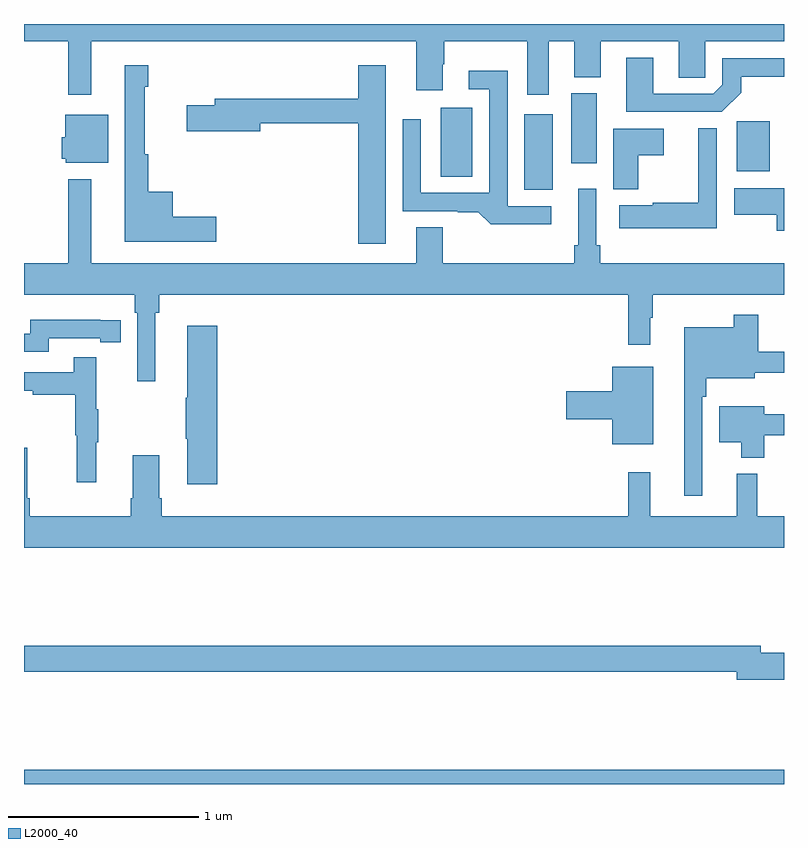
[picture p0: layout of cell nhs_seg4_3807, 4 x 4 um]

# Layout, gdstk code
import gdstk
lib = gdstk.Library(unit=1e-6, precision=1e-09)
def R(c, l, rs):  # rectangles x0, y0, x1, y1
    for r in rs: c.add(gdstk.rectangle(r[:2], r[2:], *l))
def P(c, l, *ps):  # polygons
    for p in ps: c.add(gdstk.Polygon(p, *l))
L2000_40 = (2000, 40)

nhs_seg4_3807 = lib.new_cell('nhs_seg4_3807')
R(nhs_seg4_3807, L2000_40, [(311,804.9,315,804.976), (313.634,808.027,313.783,808.426), (313.193,808.096,313.36,808.459), (314.75,808.124,314.926,808.388), (313.88,808.167,314.014,808.536)])
P(nhs_seg4_3807, L2000_40, [(311.353,808.808),(313.064,808.808),(313.064,808.551),(313.204,808.551),(313.204,808.688),(313.212,808.688),(313.212,808.808),(313.649,808.808),(313.649,808.527),(313.762,808.527),(313.762,808.808),(313.895,808.808),(313.895,808.621),(314.035,808.621),(314.035,808.808),(314.447,808.808),(314.447,808.618),(314.586,808.618),(314.586,808.808),(315,808.808),(315,808.9),(311,808.9),(311,808.808),(311.232,808.808),(311.232,808.527),(311.353,808.527)],
  [(314.775,808.539),(314.775,808.623),(315,808.623),(315,808.719),(314.676,808.719),(314.676,808.581),(314.628,808.533),(314.311,808.533),(314.311,808.723),(314.171,808.723),(314.171,808.437),(314.673,808.437)],
  [(312.013,807.885),(311.782,807.885),(311.782,808.018),(311.653,808.018),(311.653,808.214),(311.635,808.214),(311.635,808.571),(311.653,808.571),(311.653,808.684),(311.531,808.684),(311.531,807.755),(312.013,807.755)],
  [(312.904,808.684),(312.758,808.684),(312.758,808.507),(312.005,808.507),(312.005,808.473),(311.856,808.473),(311.856,808.336),(312.244,808.336),(312.244,808.378),(312.758,808.378),(312.758,807.744),(312.904,807.744)],
  [(313.774,807.942),(313.545,807.942),(313.545,808.654),(313.341,808.654),(313.341,808.557),(313.449,808.557),(313.449,808.011),(313.089,808.011),(313.089,808.399),(312.993,808.399),(312.993,807.915),(313.283,807.915),(313.283,807.91),(313.391,807.91),(313.457,807.845),(313.774,807.845)],
  [(311.443,808.423),(311.216,808.423),(311.216,808.305),(311.198,808.305),(311.198,808.191),(311.22,808.191),(311.22,808.169),(311.443,808.169)],
  [(314.646,808.352),(314.549,808.352),(314.549,807.96),(314.31,807.96),(314.31,807.946),(314.133,807.946),(314.133,807.824),(314.646,807.824)],
  [(314.232,808.208),(314.368,808.208),(314.368,808.348),(314.102,808.348),(314.102,808.031),(314.232,808.031)],
  [(314.179,807.213),(314.296,807.213),(314.296,807.353),(314.308,807.353),(314.308,807.476),(315,807.476),(315,807.64),(314.033,807.64),(314.033,807.736),(314.013,807.736),(314.013,808.033),(313.916,808.033),(313.916,807.736),(313.897,807.736),(313.897,807.64),(313.204,807.64),(313.204,807.83),(313.064,807.83),(313.064,807.64),(311.353,807.64),(311.353,808.084),(311.232,808.084),(311.232,807.64),(311,807.64),(311,807.476),(311.582,807.476),(311.582,807.38),(311.595,807.38),(311.595,807.021),(311.692,807.021),(311.692,807.38),(311.711,807.38),(311.711,807.476),(314.179,807.476)],
  [(315,808.036),(314.739,808.036),(314.739,807.896),(314.962,807.896),(314.962,807.812),(315,807.812)],
  [(314.571,806.939),(314.591,806.939),(314.591,807.035),(314.845,807.035),(314.845,807.064),(315,807.064),(315,807.175),(314.864,807.175),(314.864,807.37),(314.736,807.37),(314.736,807.304),(314.474,807.304),(314.474,806.418),(314.571,806.418)],
  [(311.13,807.246),(311.402,807.246),(311.402,807.226),(311.51,807.226),(311.51,807.342),(311.402,807.342),(311.402,807.343),(311.034,807.343),(311.034,807.27),(311,807.27),(311,807.174),(311.13,807.174)],
  [(312.017,807.313),(311.858,807.313),(311.858,806.933),(311.851,806.933),(311.851,806.716),(311.858,806.716),(311.858,806.478),(312.017,806.478)],
  [(311.381,806.699),(311.392,806.699),(311.392,806.873),(311.381,806.873),(311.381,807.145),(311.263,807.145),(311.263,807.066),(311,807.066),(311,806.97),(311.047,806.97),(311.047,806.95),(311.271,806.95),(311.271,806.736),(311.278,806.736),(311.278,806.487),(311.381,806.487)],
  [(314.311,807.097),(314.096,807.097),(314.096,806.966),(313.854,806.966),(313.854,806.819),(314.096,806.819),(314.096,806.687),(314.311,806.687)],
  [(314.896,806.736),(315,806.736),(315,806.847),(314.896,806.847),(314.896,806.887),(314.66,806.887),(314.66,806.699),(314.774,806.699),(314.774,806.618),(314.896,806.618)],
  [(315,806.308),(314.86,806.308),(314.86,806.533),(314.75,806.533),(314.75,806.308),(314.297,806.308),(314.297,806.542),(314.179,806.542),(314.179,806.308),(311.726,806.308),(311.726,806.404),(311.713,806.404),(311.713,806.629),(311.573,806.629),(311.573,806.404),(311.561,806.404),(311.561,806.308),(311.03,806.308),(311.03,806.404),(311.017,806.404),(311.017,806.671),(311,806.671),(311,806.144),(315,806.144)],
  [(315,805.592),(314.878,805.592),(314.878,805.628),(311,805.628),(311,805.492),(314.75,805.492),(314.75,805.45),(315,805.45)])

lib.write_gds('nhs_seg4_3807.gds')
